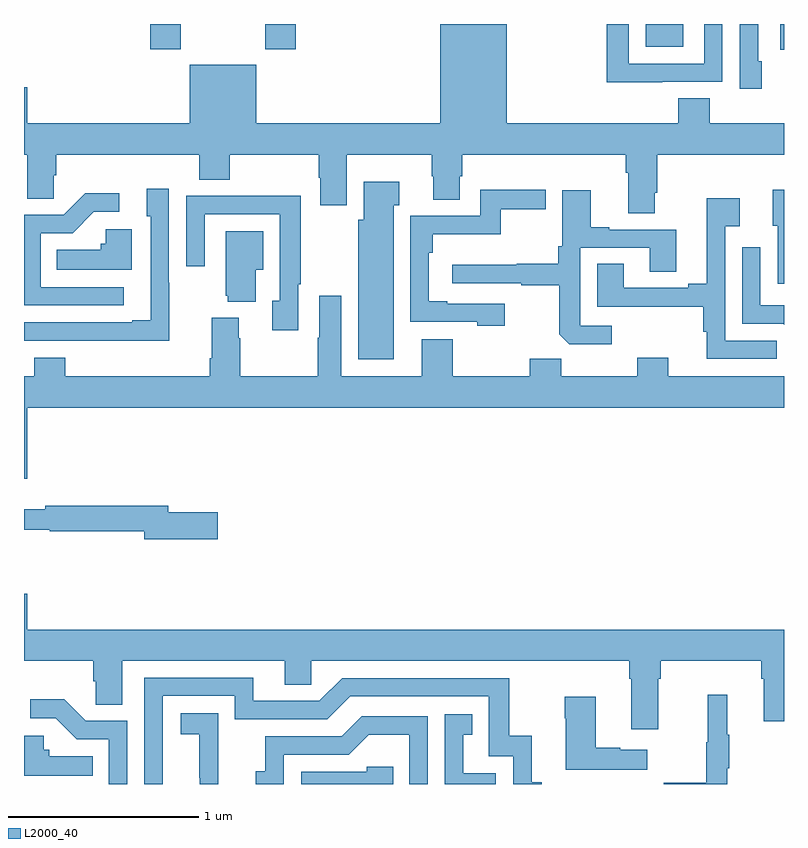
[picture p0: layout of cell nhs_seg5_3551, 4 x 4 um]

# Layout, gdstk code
import gdstk
lib = gdstk.Library(unit=1e-6, precision=1e-09)
def R(c, l, rs):  # rectangles x0, y0, x1, y1
    for r in rs: c.add(gdstk.rectangle(r[:2], r[2:], *l))
def P(c, l, *ps):  # polygons
    for p in ps: c.add(gdstk.Polygon(p, *l))
L2000_40 = (2000, 40)

nhs_seg5_3551 = lib.new_cell('nhs_seg5_3551')
R(nhs_seg5_3551, L2000_40, [(324.98,838.663,325,838.799), (321.665,838.665,321.825,838.799), (322.27,838.665,322.43,838.799), (324.272,838.679,324.469,838.799)])
P(nhs_seg5_3551, L2000_40, [(324.883,838.602),(324.864,838.602),(324.864,838.799),(324.768,838.799),(324.768,838.458),(324.883,838.458)],
  [(324.359,838.494),(324.675,838.494),(324.675,838.799),(324.579,838.799),(324.579,838.59),(324.183,838.59),(324.183,838.799),(324.067,838.799),(324.067,838.493),(324.359,838.493)],
  [(322.222,838.585),(321.872,838.585),(321.872,838.276),(321.016,838.276),(321.016,838.465),(321,838.465),(321,838.112),(321.017,838.112),(321.017,837.88),(321.156,837.88),(321.156,838.003),(321.17,838.003),(321.17,838.112),(321.923,838.112),(321.923,837.979),(322.083,837.979),(322.083,838.112),(322.552,838.112),(322.552,837.991),(322.559,837.991),(322.559,837.846),(322.699,837.846),(322.699,838.112),(323.146,838.112),(323.146,837.999),(323.153,837.999),(323.153,837.874),(323.293,837.874),(323.293,837.999),(323.306,837.999),(323.306,838.112),(324.167,838.112),(324.167,838.016),(324.179,838.016),(324.179,837.802),(324.319,837.802),(324.319,837.91),(324.332,837.91),(324.332,838.112),(325,838.112),(325,838.276),(324.608,838.276),(324.608,838.409),(324.443,838.409),(324.443,838.276),(323.542,838.276),(323.542,838.799),(323.192,838.799),(323.192,838.276),(322.222,838.276)],
  [(322.945,837.845),(322.975,837.845),(322.975,837.97),(322.787,837.97),(322.787,837.768),(322.76,837.768),(322.76,837.035),(322.945,837.035)],
  [(321.765,837.437),(321.762,837.437),(321.762,837.931),(321.647,837.931),(321.647,837.786),(321.666,837.786),(321.666,837.241),(321.569,837.241),(321.569,837.228),(321,837.228),(321,837.132),(321.301,837.132),(321.301,837.131),(321.765,837.131)],
  [(323.53,837.327),(323.227,837.327),(323.227,837.34),(323.13,837.34),(323.13,837.596),(323.15,837.596),(323.15,837.692),(323.509,837.692),(323.509,837.823),(323.746,837.823),(323.746,837.926),(323.4,837.926),(323.4,837.789),(323.034,837.789),(323.034,837.231),(323.385,837.231),(323.385,837.212),(323.53,837.212)],
  [(325,837.926),(324.941,837.926),(324.941,837.738),(324.966,837.738),(324.966,837.432),(325,837.432)],
  [(324.094,837.21),(323.928,837.21),(323.928,837.621),(324.293,837.621),(324.293,837.496),(324.433,837.496),(324.433,837.717),(324.079,837.717),(324.079,837.73),(323.983,837.73),(323.983,837.925),(323.832,837.925),(323.832,837.628),(323.812,837.628),(323.812,837.536),(323.593,837.536),(323.593,837.532),(323.253,837.532),(323.253,837.435),(323.617,837.435),(323.617,837.423),(323.817,837.423),(323.817,837.165),(323.869,837.114),(324.094,837.114)],
  [(321.526,837.414),(321.087,837.414),(321.087,837.699),(321.256,837.699),(321.367,837.81),(321.502,837.81),(321.502,837.908),(321.323,837.908),(321.21,837.795),(321,837.795),(321,837.318),(321.526,837.318)],
  [(322.443,837.43),(322.456,837.43),(322.456,837.896),(322.171,837.896),(322.171,837.894),(321.855,837.894),(321.855,837.525),(321.951,837.525),(321.951,837.798),(322.347,837.798),(322.347,837.342),(322.307,837.342),(322.307,837.186),(322.443,837.186)],
  [(324.963,837.132),(324.69,837.132),(324.69,837.734),(324.766,837.734),(324.766,837.883),(324.593,837.883),(324.593,837.431),(324.497,837.431),(324.497,837.411),(324.157,837.411),(324.157,837.536),(324.017,837.536),(324.017,837.31),(324.574,837.31),(324.574,837.179),(324.593,837.179),(324.593,837.036),(324.963,837.036)],
  [(321.568,837.718),(321.429,837.718),(321.429,837.642),(321.403,837.642),(321.403,837.61),(321.172,837.61),(321.172,837.506),(321.568,837.506)],
  [(322.219,837.506),(322.258,837.506),(322.258,837.709),(322.061,837.709),(322.061,837.369),(322.073,837.369),(322.073,837.338),(322.219,837.338)],
  [(325,837.318),(324.876,837.318),(324.876,837.625),(324.78,837.625),(324.78,837.222),(324.993,837.222),(325,837.215)],
  [(321.016,836.78),(325,836.78),(325,836.944),(324.391,836.944),(324.391,837.043),(324.227,837.043),(324.227,836.944),(323.827,836.944),(323.827,837.037),(323.663,837.037),(323.663,836.944),(323.257,836.944),(323.257,837.139),(323.093,837.139),(323.093,836.944),(322.669,836.944),(322.669,837.37),(322.553,837.37),(322.553,837.149),(322.546,837.149),(322.546,836.944),(322.137,836.944),(322.137,837.146),(322.129,837.146),(322.129,837.253),(321.989,837.253),(321.989,837.04),(321.977,837.04),(321.977,836.944),(321.218,836.944),(321.218,837.043),(321.053,837.043),(321.053,836.944),(321,836.944),(321,836.406),(321.016,836.406)],
  [(322.021,836.228),(321.76,836.228),(321.76,836.264),(321.112,836.264),(321.112,836.245),(321,836.245),(321,836.136),(321.136,836.136),(321.136,836.128),(321.632,836.128),(321.632,836.086),(322.021,836.086)],
  [(324.337,835.352),(324.35,835.352),(324.35,835.448),(324.881,835.448),(324.881,835.352),(324.893,835.352),(324.893,835.128),(325,835.128),(325,835.612),(321.016,835.612),(321.016,835.801),(321,835.801),(321,835.448),(321.365,835.448),(321.365,835.339),(321.378,835.339),(321.378,835.216),(321.517,835.216),(321.517,835.448),(322.373,835.448),(322.373,835.321),(322.512,835.321),(322.512,835.448),(324.185,835.448),(324.185,835.352),(324.197,835.352),(324.197,835.086),(324.337,835.086)],
  [(321.729,835.263),(322.11,835.263),(322.11,835.14),(322.596,835.14),(322.716,835.26),(323.445,835.26),(323.445,834.945),(323.574,834.945),(323.574,834.799),(323.725,834.799),(323.725,834.807),(323.672,834.807),(323.672,835.054),(323.554,835.054),(323.554,835.356),(322.674,835.356),(322.554,835.236),(322.207,835.236),(322.207,835.359),(321.633,835.359),(321.633,834.799),(321.729,834.799)],
  [(324.701,834.883),(324.712,834.883),(324.712,835.057),(324.701,835.057),(324.701,835.27),(324.598,835.27),(324.598,835.02),(324.591,835.02),(324.591,834.806),(324.367,834.806),(324.367,834.799),(324.701,834.799)],
  [(324.28,834.979),(324.137,834.979),(324.137,834.989),(324.01,834.989),(324.01,835.258),(323.845,835.258),(323.845,835.145),(323.852,835.145),(323.852,834.875),(324.28,834.875)],
  [(321.543,835.131),(321.324,835.131),(321.211,835.244),(321.033,835.244),(321.033,835.146),(321.167,835.146),(321.278,835.035),(321.447,835.035),(321.447,834.799),(321.543,834.799)],
  [(322.022,834.965),(322.023,834.965),(322.023,835.171),(321.825,835.171),(321.825,835.061),(321.923,835.061),(321.923,834.833),(321.924,834.833),(321.924,834.799),(322.022,834.799)],
  [(323.484,834.855),(323.311,834.855),(323.311,835.059),(323.36,835.059),(323.36,835.165),(323.214,835.165),(323.214,834.799),(323.484,834.799)],
  [(322.368,834.954),(322.71,834.954),(322.814,835.058),(323.028,835.058),(323.028,834.799),(323.124,834.799),(323.124,835.155),(322.778,835.155),(322.673,835.05),(322.27,835.05),(322.27,834.865),(322.221,834.865),(322.221,834.799),(322.368,834.799)],
  [(321.362,834.946),(321.132,834.946),(321.132,834.978),(321.105,834.978),(321.105,835.054),(321,835.054),(321,834.842),(321.362,834.842)],
  [(322.943,834.891),(322.803,834.891),(322.803,834.864),(322.458,834.864),(322.458,834.799),(322.943,834.799)])

lib.write_gds('nhs_seg5_3551.gds')
